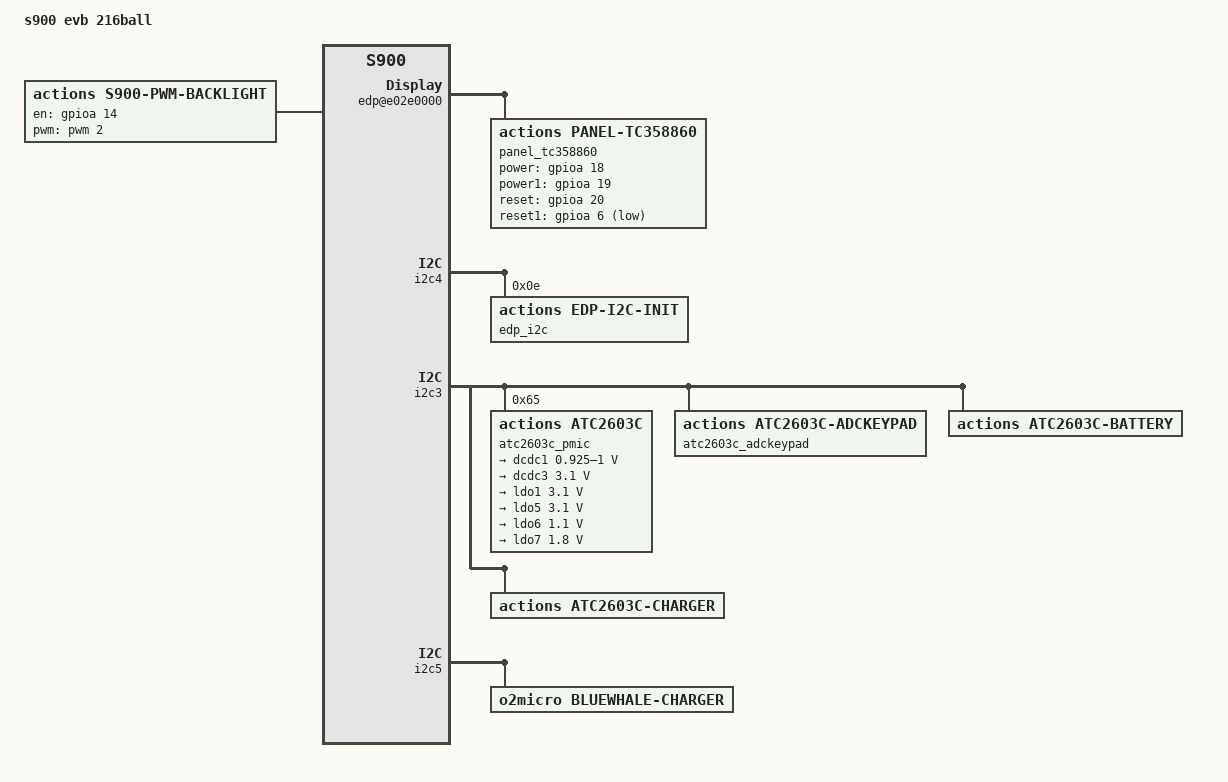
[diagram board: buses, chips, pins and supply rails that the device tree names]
/*
 * Copyright (c) 2015 Actions Semi Co., Ltd.
 *
 * SPDX-License-Identifier:	GPL-2.0+
 */

/dts-v1/;

#include "s900.dtsi"

/ {
	model = "s900 evb 216ball";
	compatible = "actions,s900_evb_216ball", "actions,s900";

	chosen {
		stdout-path = &serial5;
	};

	clock:e0160000 {
		compatible = "actions,owl-clk";
		core_pll = <1104>;
		dev_pll = <660>;
		display_pll = <1056>;
		//ddr_pll_spread_spectrum =<1>; /* 0 : disable ; else enable*/
		//nand_pll_spread_spectrum =<1>;  /* 0 : disable ; else enable*/
		//dp_pll_spread_spectrum =<1>; /* 0 : disable ; else enable*/
	};

	pwm: pwm@e01b0000 {
		pwm2 {
			id = <2>;
			mfp = <0>;
		};
	};

	edp@e02e0000 {
		panel_configs = <&config0>;

		/*
		 * edp_configs, used to configure edp controller,
		 * its values should set according to edp panel's spec.
		 * Currently, the configration is for lg-lp097qx1 panel.
		 */
		config0: edp_configs {
			link_rate = <1>;	/* 0, 1.62G; 1, 2.7G; 2, 5.4G */

			lane_count = <4>;
			lane_polarity = <0x10>;	/* bit 0~3 map for data lanes' polarity,
						   bit 4 map for aux lanes' polarity,
						   0 normal, 1 reversed */
			lane_mirror = <0>;	/* lane mirror, 0 lane0~3, 1 lane3~0 */

			mstream_polarity = <0x3>;/* bit map for mstream's polarity,
						   bit1: vsync, bit0 hsync */
			user_sync_polarity = <0xc>;/* bit map for user sync's polarity,
						    * bit3: sync signal polarity,
						    * bit2: enable signal polarity,
						    * bit1: vsync polarity,
						    * bit0: hsync polarity
						    */

			pclk_parent = <0>;	/* 0, ASSIST_PLL, 1, DISPLAY PLL */
			pclk_rate = <250000000>;/* 250MHz, ASSIST_PLL, divider 2 */
		};

		/* sharp-tc358860 edp2dsi panel */
		panel_tc358860: edp_panel {
			compatible = "actions,panel-tc358860";

			/* panel's fixed info */
			width_mm = <68>;
			height_mm = <121>;
			bpp = <24>;

			is_primary = <1>;
			hotplugable = <0>;
			hotplug_always_on = <0>;

			/* operation delay in ms */
			power_on_delay = <10>;
			power_off_delay = <0>;
			enable_delay = <10>;
			disable_delay = <0>;

			power-gpio = <&gpioa 18 0>; /* GPIOA18, active high */
			power1-gpio = <&gpioa 19 0>; /* GPIOA19, active high */

			reset-gpio = <&gpioa 20 0>; /* GPIOA20, active high */
			reset1-gpio = <&gpioa 6 1>; /* GPIOA20, low high */

			videomode-0 = <&mode0>;
			/* 1440x2560p60 */
			mode0: videomode {
				refresh_rate = <60>;

				xres = <1440>;
				yres = <2560>;

				/*
				 * pclk_rate = 200MHz, ASSIS_PLL, divider 2.5
				 * pixel_clock = picoseconds / pclk_rate
				 */
				pixel_clock = <5000>;

				hsw = <32>;
				hbp = <80>;
				hfp = <80>;

				vsw = <2>;
				vbp = <6>;
				vfp = <8>;

				/* 0: FB_VMODE_NONINTERLACED, 1:FB_VMODE_INTERLACED */
				vmode = <0>;
			};
		};
	};

	i2c4: i2c@e0178000 {
		edp_i2c {
			compatible = "actions,edp-i2c-init";
			reg = <0x0e>;
			u-boot,i2c-offset-len = <2>;
		};
	};

	i2c3: i2c@e0176000 {
		atc2603c_pmic {
			compatible = "actions,atc2603c";
			reg = <0x65>;

			atc2603c_rtc {
					compatible = "actions,atc2603c-rtc";
			};

			atc2603c_pstore {
					compatible = "actions,atc2603c-pstore";
			};

			atc2603c_misc {
					compatible = "actions,atc2603c-misc";
			};

			atc2603c_auxadc {
					compatible = "actions,atc2603c-auxadc";
			};

			voltage-regulators {

			/*
			 * DCDC1       VDD_CORE
			 * DCDC2       VDDR
			 * DCDC3       VCC
			 */

			dcdc1: dcdc1 {
				regulator-name = "dcdc1";
				regulator-min-microvolt = <925000>;
				regulator-max-microvolt = <1000000>;
				regulator-always-on;
			};

			dcdc3: dcdc3 {
				regulator-name = "dcdc3";
				regulator-min-microvolt = <3100000>;
				regulator-max-microvolt = <3100000>;
				regulator-always-on;
			};

			/*
			 * LDO1        AVCC_3V1
			 * LDO2        SENS_AVDD
			 * LDO3        ATC2603C_VDD
			 *
			 * LDO5        TPVCC3V1
			 * LDO6        AVDD_1V0
			 * LDO7        VDDR (1.8V)
			 *
			 * LDO9        RTC_VDD
			 * SWITCH LDO1 SDCARD_VCC
			 */

			ldo1: ldo1{
				regulator-name = "ldo1";
				regulator-min-microvolt  = <3100000>;
				regulator-max-microvolt = <3100000>;
				regulator-always-on;
			};

			ldo5: ldo5{
				regulator-name = "ldo5";
				regulator-min-microvolt  = <3100000>;
				regulator-max-microvolt = <3100000>;
				regulator-always-on;
			};

			ldo6: ldo6{
				regulator-name = "ldo6";
				regulator-min-microvolt  = <1100000>;
				regulator-max-microvolt = <1100000>;
				regulator-always-on;
			};

			ldo7: ldo7{
				regulator-name = "ldo7";
				regulator-min-microvolt  = <1800000>;
				regulator-max-microvolt = <1800000>;
				regulator-always-on;
			};

			};
		};

		atc2603c_adckeypad {
			#define KEY_VOLUMEDOWN	114
			#define KEY_VOLUMEUP	115
			compatible = "actions,atc2603c-adckeypad";
			keymapsize = <2>;
			adc_channel_name = "AUX0";
			key_val = <KEY_VOLUMEUP KEY_VOLUMEDOWN>;
			left_adc_val =  <0 800>;
			right_adc_val = <100 980>;
		};

		atc2603c-battery{
			compatible = "actions,atc2603c-battery";
			capacity = <7000>;/*unit:mAh*/
			shutdown_current = <50>;/*unit:ua*/
		};
		atc2603c-charger{
			compatible = "actions,atc2603c-charger";
			rsense = <10>;/*unit:mohm*/
			support_adaptor_type = <2>; /*1: DCIN  2: USB  3:DCIN+USB*/
			usb_pc_ctl_mode = <1>; /*0:disable vbus ctl;1:current limited;2:voltage limited*/

		};
	};

	i2c5: i2c@e017a000 {
		bluewhale-charger {
			compatible = "o2micro,bluewhale-charger";
			vbus_ilimt = <500>;
		};
	};

	backlight {
		compatible = "actions,s900-pwm-backlight";

		/* GPIOA14, active high */
		en-gpios = <&gpioa 14 0>;

		/*1.pwm num; 2. period in ns; */
		/*3.plarity, 0: high active, 1: low active*/
		pwms = <&pwm 2 50000 0>;

		total_steps = <1024>;
		min_brightness = <100>;
		max_brightness = <1000>;
		dft_brightness = <500>;

		delay_bf_pwm = <0>; /*in ms*/
		delay_af_pwm = <5>; /*in ms*/
	};
	xhci@e0400000 {
		actions,vbus-gpio = <&gpiod 1 0>;  /* GPIOD1,  0:  high active ; 1: low active */
	};
};
